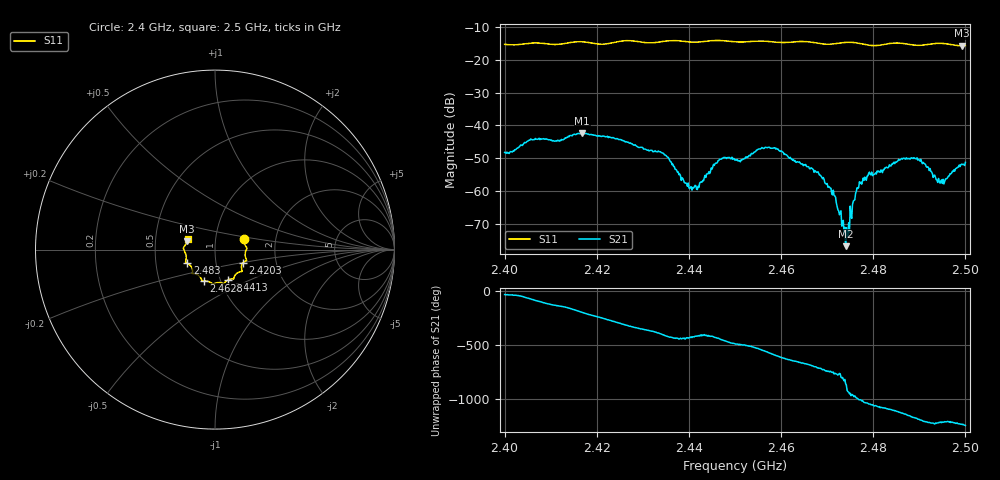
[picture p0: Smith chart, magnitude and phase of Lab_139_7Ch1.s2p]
# Hz S RI R 50
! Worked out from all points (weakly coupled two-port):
!   601 points, 2.4 GHz to 2.5 GHz, reference 50 ohm
!   highest |S21| = -42.33 dB at 2.4168 GHz (marker M1); lowest = -76.7 dB at 2.474 GHz (marker M2)
!   lowest |S11| = -15.8 dB at 2.4992 GHz (marker M3), VSWR 1.39, Z = 36.4 + j3.54 ohm
!   |S11| at or under -10 dB: start of sweep to end of sweep
!   S12 and S22 are empty: the file has one direction only
!   S11 on the Smith chart (normalised r, x): 2.4 GHz: 1.37, +0.16; 2.4203 GHz: 1.35, -0.21; 2.4413 GHz: 1.09, -0.38; 2.4628 GHz: 0.83, -0.30; 2.483 GHz: 0.72, -0.11; 2.5 GHz: 0.73, +0.09
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2.4e9  0.1605 0.0571  0.00321 -0.0022  0 0  0 0
2.405667e9  0.1775 0.0109  0.0016 -0.00603  0 0  0 0
2.416667e9  0.176 -0.0614  -0.00719 0.00227  0 0  0 0
2.416833e9  0.1758 -0.0616  -0.00722 0.00253  0 0  0 0
2.420333e9  0.1556 -0.0737  -0.00315 0.00626  0 0  0 0
2.433333e9  0.1081 -0.1483  0.00354 -0.00206  0 0  0 0
2.441333e9  0.0742 -0.1682  0.000614 -0.00107  0 0  0 0
2.446833e9  0.0478 -0.1885  1.92e-05 -0.00308  0 0  0 0
2.45e9  0.0296 -0.1839  -0.00196 -0.00223  0 0  0 0
2.457e9  -0.0168 -0.1883  -0.00411 0.00204  0 0  0 0
2.462833e9  -0.063 -0.1748  0.00106 0.00269  0 0  0 0
2.466667e9  -0.0744 -0.1675  0.00202 0.000959  0 0  0 0
2.471333e9  -0.1051 -0.1371  0.000878 -0.00056  0 0  0 0
2.474e9  -0.123 -0.1344  -0.000112 -9.57e-05  0 0  0 0
2.474333e9  -0.1239 -0.134  -0.000205 8.93e-05  0 0  0 0
2.476833e9  -0.1244 -0.1257  0.000344 0.00109  0 0  0 0
2.483e9  -0.1548 -0.0767  0.00224 -0.000516  0 0  0 0
2.483333e9  -0.157 -0.0756  0.00221 -0.00071  0 0  0 0
2.489333e9  -0.1609 -0.0371  -0.000539 -0.00307  0 0  0 0
2.495e9  -0.1755 0.0107  -0.000938 -0.000924  0 0  0 0
2.499167e9  -0.1551 0.0473  -0.00236 -0.00105  0 0  0 0
2.5e9  -0.1526 0.0586  -0.00268 -0.000589  0 0  0 0
